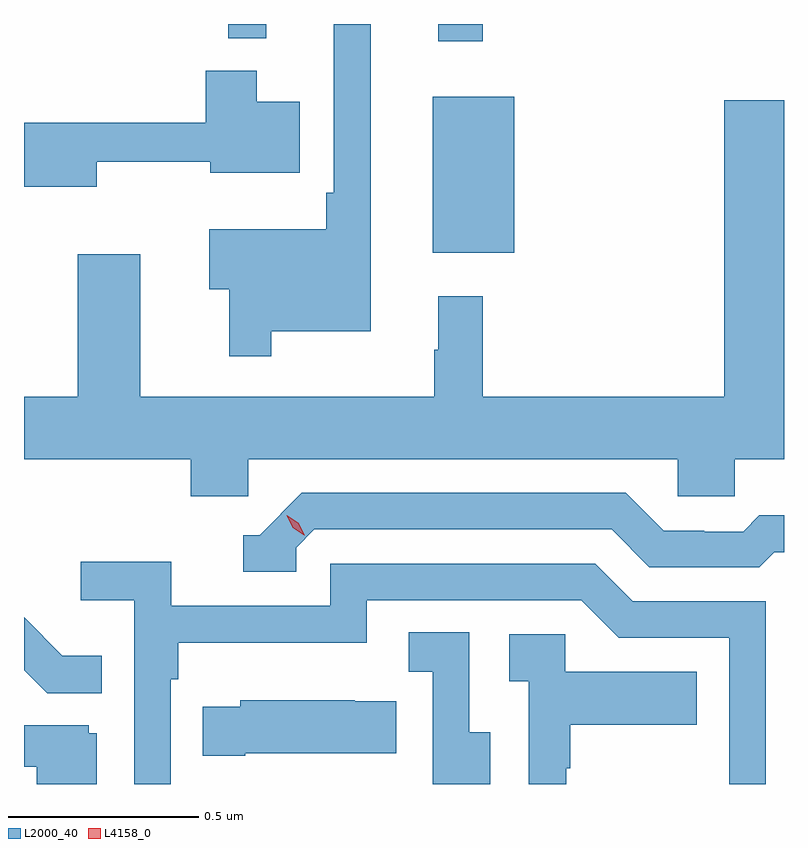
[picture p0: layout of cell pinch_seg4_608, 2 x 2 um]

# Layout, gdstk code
import gdstk
lib = gdstk.Library(unit=1e-6, precision=1e-09)
def R(c, l, rs):  # rectangles x0, y0, x1, y1
    for r in rs: c.add(gdstk.rectangle(r[:2], r[2:], *l))
def P(c, l, *ps):  # polygons
    for p in ps: c.add(gdstk.Polygon(p, *l))
L2000_40 = (2000, 40)
L4158_0 = (4158, 0)

pinch_seg4_608 = lib.new_cell('pinch_seg4_608')
R(pinch_seg4_608, L2000_40, [(1077.029,773.387,1077.244,773.797), (1077.044,773.943,1077.161,773.989), (1076.491,773.951,1076.591,773.989), (1076.096,773.988,1076.26,773.989)])
P(pinch_seg4_608, L2000_40, [(1076.605,773.18),(1076.866,773.18),(1076.866,773.989),(1076.769,773.989),(1076.769,773.545),(1076.749,773.545),(1076.749,773.449),(1076.442,773.449),(1076.442,773.291),(1076.494,773.291),(1076.494,773.115),(1076.605,773.115)],
  [(1076.146,773.626),(1076.444,773.626),(1076.444,773.597),(1076.68,773.597),(1076.68,773.785),(1076.566,773.785),(1076.566,773.866),(1076.432,773.866),(1076.432,773.729),(1075.954,773.729),(1075.954,773.561),(1076.146,773.561)],
  [(1076.544,772.844),(1077.675,772.844),(1077.675,772.746),(1077.825,772.746),(1077.825,772.844),(1077.954,772.844),(1077.954,773.788),(1077.797,773.788),(1077.797,773.008),(1077.161,773.008),(1077.161,773.272),(1077.044,773.272),(1077.044,773.132),(1077.033,773.132),(1077.033,773.008),(1076.26,773.008),(1076.26,773.383),(1076.096,773.383),(1076.096,773.008),(1075.954,773.008),(1075.954,772.844),(1076.393,772.844),(1076.393,772.746),(1076.544,772.746)],
  [(1076.67,772.611),(1076.718,772.659),(1077.501,772.659),(1077.6,772.56),(1077.889,772.56),(1077.928,772.599),(1077.954,772.599),(1077.954,772.696),(1077.889,772.696),(1077.847,772.653),(1077.744,772.653),(1077.744,772.656),(1077.637,772.656),(1077.538,772.755),(1076.685,772.755),(1076.574,772.644),(1076.531,772.644),(1076.531,772.548),(1076.67,772.548)],
  [(1076.34,772.265),(1076.36,772.265),(1076.36,772.361),(1076.856,772.361),(1076.856,772.473),(1077.42,772.473),(1077.519,772.374),(1077.81,772.374),(1077.81,771.989),(1077.906,771.989),(1077.906,772.47),(1077.556,772.47),(1077.457,772.569),(1076.76,772.569),(1076.76,772.458),(1076.342,772.458),(1076.342,772.574),(1076.103,772.574),(1076.103,772.472),(1076.244,772.472),(1076.244,771.989),(1076.34,771.989)],
  [(1076.159,772.327),(1076.055,772.327),(1075.954,772.428),(1075.954,772.289),(1076.015,772.228),(1076.159,772.228)],
  [(1077.181,772.125),(1077.126,772.125),(1077.126,772.388),(1076.967,772.388),(1076.967,772.285),(1077.03,772.285),(1077.03,771.989),(1077.181,771.989)],
  [(1077.381,772.031),(1077.391,772.031),(1077.391,772.145),(1077.725,772.145),(1077.725,772.285),(1077.378,772.285),(1077.378,772.383),(1077.231,772.383),(1077.231,772.259),(1077.282,772.259),(1077.282,771.989),(1077.381,771.989)],
  [(1076.536,772.07),(1076.933,772.07),(1076.933,772.207),(1076.825,772.207),(1076.825,772.21),(1076.523,772.21),(1076.523,772.192),(1076.425,772.192),(1076.425,772.063),(1076.536,772.063)],
  [(1076.146,772.122),(1076.124,772.122),(1076.124,772.143),(1075.954,772.143),(1075.954,772.035),(1075.988,772.035),(1075.988,771.989),(1076.146,771.989)])
P(pinch_seg4_608, L4158_0, [(1076.692,772.643),(1076.661,772.663),(1076.645,772.696),(1076.645,772.696),(1076.645,772.696),(1076.676,772.676),(1076.693,772.643),(1076.693,772.643)])

lib.write_gds('pinch_seg4_608.gds')
